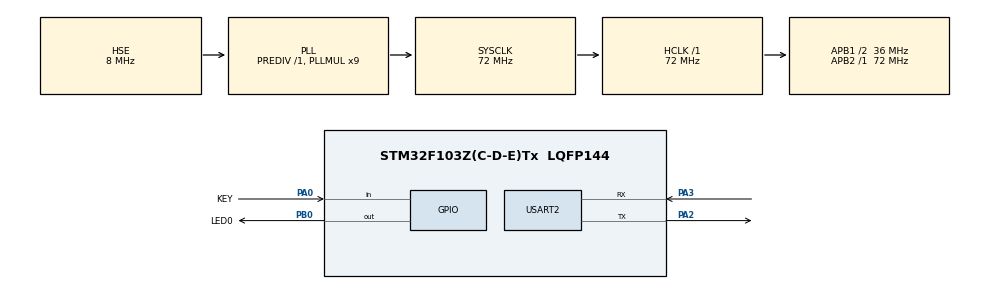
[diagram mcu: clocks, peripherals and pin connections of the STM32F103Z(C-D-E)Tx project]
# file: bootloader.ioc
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Dma.Request0=USART2_RX
Dma.USART2_RX.0.Direction=DMA_PERIPH_TO_MEMORY
Dma.USART2_RX.0.Instance=DMA1_Channel6
Dma.USART2_RX.0.MemDataAlignment=DMA_MDATAALIGN_BYTE
Dma.USART2_RX.0.MemInc=DMA_MINC_ENABLE
Dma.USART2_RX.0.Mode=DMA_CIRCULAR
Dma.USART2_RX.0.PeriphDataAlignment=DMA_PDATAALIGN_BYTE
Dma.USART2_RX.0.PeriphInc=DMA_PINC_DISABLE
Dma.USART2_RX.0.Priority=DMA_PRIORITY_HIGH
Mcu.Family=STM32F1
Mcu.Name=STM32F103Z(C-D-E)Tx
Mcu.Package=LQFP144
NVIC.DMA1_Channel6_IRQn=true\:0\:0\:false\:false\:true\:false\:true\:true
NVIC.PriorityGroup=NVIC_PRIORITYGROUP_4
NVIC.USART2_IRQn=true\:0\:0\:false\:false\:true\:true\:true\:true
OSC_IN.Mode=HSE-External-Oscillator
OSC_IN.Signal=RCC_OSC_IN
OSC_OUT.Mode=HSE-External-Oscillator
OSC_OUT.Signal=RCC_OSC_OUT
PA0-WKUP.GPIO_Label=KEY
PA0-WKUP.Signal=GPIO_Input
PA13.Mode=Serial_Wire
PA13.Signal=SYS_JTMS-SWDIO
PA14.Mode=Serial_Wire
PA14.Signal=SYS_JTCK-SWCLK
PA2.Mode=Asynchronous
PA2.Signal=USART2_TX
PA3.Mode=Asynchronous
PA3.Signal=USART2_RX
PB0.GPIO_Label=LED0
PB0.Signal=GPIO_Output
ProjectManager.HeapSize=0x200
ProjectManager.StackSize=0x400
ProjectManager.TargetToolchain=MDK-ARM V5.32
RCC.AHBFreq_Value=72000000
RCC.APB1CLKDivider=RCC_HCLK_DIV2
RCC.APB1Freq_Value=36000000
RCC.APB1TimFreq_Value=72000000
RCC.APB2Freq_Value=72000000
RCC.APB2TimFreq_Value=72000000
RCC.HCLKFreq_Value=72000000
RCC.PLLMUL=RCC_PLL_MUL9
RCC.PLLSourceVirtual=RCC_PLLSOURCE_HSE
RCC.SYSCLKFreq_VALUE=72000000
RCC.SYSCLKSource=RCC_SYSCLKSOURCE_PLLCLK
RCC.USBFreq_Value=72000000
USART2.VirtualMode=VM_ASYNC
board=custom

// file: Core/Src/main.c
/* USER CODE BEGIN Header */
/**
 * @file    main.c
 * @brief   双 MCU OTA 系统 —— STM32 Bootloader
 *
 * 功能：
 *   1. 上电检查升级条件（按键强制 / App 请求 / 无有效 App）
 *   2. 有有效 App → IAP 跳转运行
 *   3. 无有效 App → USART2 + DMA 接收 ESP32 发来的 OTA 协议帧
 *   4. 固件写入 App B 区 → CRC 校验 → 复制到 App A → 复位
 */
/* USER CODE END Header */
#include "main.h"
#include "dma.h"
#include "usart.h"
#include "gpio.h"

/* USER CODE BEGIN Includes */
#include "ota_config.h"
#include "ota_protocol.h"
#include "flash_if.h"
#include <string.h>
/* USER CODE END Includes */

/* USER CODE BEGIN PTD */

/* OTA 会话状态 */
typedef struct {
    uint32_t fw_total;      /* 固件总字节数        */
    uint16_t total_pkts;    /* 总包数              */
    uint32_t received;      /* 已接收字节数        */
    uint16_t expect_seq;    /* 期望的下一个序号    */
    uint32_t crc;           /* 流式累计 CRC32      */
    uint8_t  active;        /* 会话是否进行中      */
} OtaSession_t;

/* USER CODE END PTD */

/* USER CODE BEGIN PV */
/* 接收缓冲区 —— DMA 直接写入 OtaRxBuf；帧就绪后由主循环快照到 g_frameBuf 再解析，
 *                避免"解析期间 DMA 又覆盖"的竞态。                          */
uint8_t           OtaRxBuf[OTA_RX_BUF_SIZE];    /* DMA 目标缓冲（对外可见） */
volatile uint8_t  OtaRxReady = 0;               /* 1 = 有帧待处理           */
volatile uint16_t OtaRxLen   = 0;               /* 帧长度                   */

static uint8_t  g_frameBuf[OTA_RX_BUF_SIZE];    /* 帧快照（解析用）         */

static OtaSession_t g_ota;

static const char *s_bootVer = "boot v1.0";
/* USER CODE END PV */

void SystemClock_Config(void);
static void OTA_LED_Init(void);   /* 手动初始化 LED 引脚（不依赖 CubeMX） */
/* USER CODE BEGIN PFP */
static void     JumpToApp(uint32_t appAddr);
static uint8_t  AppLooksValid(uint32_t appAddr);
static uint8_t  ShouldEnterDownload(void);
static uint8_t  WaitForKeyInWindow(uint32_t ms);   /* 上电后 N ms 内的"按 KEY0 即进下载模式"窗口 */
static void     OTA_HandleFrame(const OtaFrame_t *f);
static void     OTA_SendAck(uint16_t seq, uint8_t status);
/* USER CODE END PFP */

int main(void)
{

    /* MCU Configuration--------------------------------------------------------*/
    HAL_Init();

    /* Configure the system clock */
    SystemClock_Config();

    /* Initialize all configured peripherals */
    /* 注意：DMA 必须先于 UART 初始化（CubeMX 偶尔生成顺序颠倒会死机） */
    MX_DMA_Init();
    MX_GPIO_Init();
    MX_USART2_UART_Init();

    /* USER CODE BEGIN 2 */

    /* 手动初始化 LED 引脚（覆盖 OTA_LED_PORT/OTA_LED_PIN，不依赖 CubeMX） */
    OTA_LED_Init();

    /* ---- 1. 上电后 3 秒"等待 KEY0"窗口 ----
     * 让你不用"按住+RESET"也能进下载模式：直接按一下 RST → 松手后 3 秒内
     * 按一下 KEY0 就强制进下载模式。错过窗口（App 完整）就跳 App。
     * LED 在等待窗口里用 50ms 超快闪，跟"进下载模式后的 200ms 慢闪"区分开。
     */
    if (WaitForKeyInWindow(3000)) {
        /* 用户按了 KEY0 → 强制进下载模式（绕过 AppLooksValid 判据） */
    } else {
        /* 3 秒没按 → 走原判据 */
        if (!ShouldEnterDownload()) {
            JumpToApp(APP_A_ADDR);          /* 正常启动，不回来 */
        }
    }

    /* ---- 2. 下载模式：LED 慢闪提示 ---- */
    uint32_t lastBlink = 0;
    uint8_t  ledState = 0;

    g_ota.active = 0;
    memset(&g_ota, 0, sizeof(g_ota));

    /* 启动接收：手动 DMA + 空闲中断（不用 HAL_UARTEx_ReceiveToIdle_DMA，
     * 因为它在 F1 HAL 上会同时打开"半传输(HT)中断"，当 DMA 计数过半时
     * 也回调 RxEventCallback，产生"假帧"把真帧冲掉 —— 这正是第 4 包
     * (768B 之后)开始失败的根因）。                                    */
    OTA_RxStart();

    /* USER CODE END 2 */

    /* Infinite loop */
    /* USER CODE BEGIN WHILE */
    while (1)
    {
        /* ---- 3. 处理接收到的协议帧 ---- */
        if (OtaRxReady) {
            OtaFrame_t f;
            uint16_t   len = OtaRxLen;

            /* 先快照帧数据，再立刻重启 DMA 接收，
             * 之后慢慢解析（避免解析期间 DMA 覆盖数据）。 */
            memcpy(g_frameBuf, OtaRxBuf, len);
            memset(OtaRxBuf, 0, OTA_RX_BUF_SIZE);
            OtaRxReady = 0;
            OTA_RxStart();              /* 立即重启，准备收下一帧 */

            int rc = ota_parse_frame(g_frameBuf, len, &f);
            if (rc == 0) {
                OTA_HandleFrame(&f);
            } else {
                /* 帧损坏 → NACK 让 ESP32 重传 */
                ota_send(&huart2, CMD_NACK, 0, NULL, 0);
            }
        }

        /* ---- 4. LED 心跳（非阻塞） ---- */
        if (HAL_GetTick() - lastBlink > (g_ota.active ? 50 : 200)) {
            lastBlink = HAL_GetTick();
            ledState = !ledState;
            HAL_GPIO_WritePin(OTA_LED_PORT, OTA_LED_PIN,
                              ledState ? GPIO_PIN_SET : GPIO_PIN_RESET);
        }
    /* USER CODE END WHILE */
    }
}

/**
 * @brief 启动 USART2 的 DMA 接收 + 打开空闲(IDLE)中断
 *        关键点：只允许 IDLE 事件把数据"交付"给上层，
 *        DMA 的 HT(半传输) / TC(传输完成) 中断一律关闭，
 *        避免半满时就产生"假帧"。
 */
void OTA_RxStart(void)
{
    /* 1) 先停掉可能残留的 DMA 传输，防止上一次的计数干扰 */
    (void)HAL_UART_DMAStop(&huart2);
    OtaRxReady = 0;
    OtaRxLen   = 0;

    /* 2) 清 UART 的 IDLE / ORE 等标志，避免刚开就误触发 */
    __HAL_UART_CLEAR_IDLEFLAG(&huart2);

    /* 3) 启动 DMA 接收。
     *    注意：HAL 内部会默认同时打开 TC / HT / TE 三个中断
     *          （见 stm32f1xx_hal_dma.c 的 DMA_Start_IT），
     *          所以必须先启动、再关闭 HT/TC，顺序不能反。      */
    HAL_UART_Receive_DMA(&huart2, OtaRxBuf, OTA_RX_BUF_SIZE);

    /* 4) 关掉 DMA 的半传输(HT) / 传输完成(TC) 中断 —— 只留 IDLE 作为
     *    "帧结束"信号。否则缓冲区收满一半(1024B)时会误当一帧处理。
     *    USART2_RX 对应 DMA1_Channel6（CubeMX 生成）。             */
    DMA1_Channel6->CCR &= ~(DMA_CCR_HTIE | DMA_CCR_TCIE);
    DMA1->IFCR = DMA_IFCR_CGIF6;        /* 清掉通道 6 的全部标志 */

    /* 5) 打开 UART 空闲中断 —— 这是唯一的"帧结束"信号 */
    __HAL_UART_ENABLE_IT(&huart2, UART_IT_IDLE);
}

/**
 * @brief UART 接收事件回调（保留空实现，防止其它路径误用）
 */
void HAL_UARTEx_RxEventCallback(UART_HandleTypeDef *huart, uint16_t Size)
{
    (void)huart;
    (void)Size;
}

/* ============================ OTA 业务逻辑 ============================ */

/**
 * @brief 上电后 N ms 内的"按 KEY0 即进下载模式"窗口
 *        让用户不用"按住 KEY + RESET"也能进下载模式：
 *          1. 按一下 RST 复位
 *          2. 松手后 N ms 内按一下 KEY0 → 强制进下载模式
 *          3. LED 在等待期间用 50ms 超快闪作提示（区别于下载模式的 200ms 慢闪）
 *        错过窗口（KEY0 没按 / 按了但太短）→ 走原 ShouldEnterDownload 判据
 * @return 1 = 用户在窗口内按下了 KEY0（强制进下载模式）
 *         0 = 超时（让主流程继续按原逻辑走）
 */
static uint8_t WaitForKeyInWindow(uint32_t ms)
{
    uint32_t t0      = HAL_GetTick();
    uint32_t lastLed = 0;
    uint8_t  ledSt   = 0;

    while ((uint32_t)(HAL_GetTick() - t0) < ms) {
        /* KEY0 按下（持续 30ms 消抖）→ 立即返回 1 */
        if (HAL_GPIO_ReadPin(KEY_GPIO_Port, KEY_Pin) == KEY_ACTIVE_LEVEL) {
            HAL_Delay(30);
            if (HAL_GPIO_ReadPin(KEY_GPIO_Port, KEY_Pin) == KEY_ACTIVE_LEVEL) {
                return 1;
            }
        }

        /* 50ms 心跳：与"下载模式 200ms 慢闪"明显不同，告诉用户"窗口还开着" */
        if (HAL_GetTick() - lastLed > 50) {
            lastLed = HAL_GetTick();
            ledSt   = !ledSt;
            HAL_GPIO_WritePin(OTA_LED_PORT, OTA_LED_PIN,
                              ledSt ? GPIO_PIN_SET : GPIO_PIN_RESET);
        }
    }
    return 0;
}

/**
 * @brief 判断是否进入 Bootloader 下载模式
 *        任一条件成立即进入：
 *        ① 按住 KEY 上电（物理强制）
 *        ② Config 区有升级请求标志（App 触发，预留）
 *        ③ App A 区无有效固件（首次烧录/固件损坏）
 */
static uint8_t ShouldEnterDownload(void)
{
    SystemConfig_t *cfg = (SystemConfig_t *)CONFIG_ADDR;

    /* ① 按键：按住 KEY 再复位 → 强制下载模式（延时消抖） */
    if (HAL_GPIO_ReadPin(KEY_GPIO_Port, KEY_Pin) == KEY_ACTIVE_LEVEL) {
        HAL_Delay(30);
        if (HAL_GPIO_ReadPin(KEY_GPIO_Port, KEY_Pin) == KEY_ACTIVE_LEVEL) {
            return 1;
        }
    }

    /* ② App 请求升级（写入 ota_request 后复位） */
    if (cfg->magic == OTA_MAGIC && cfg->ota_request == 1) {
        return 1;
    }

    /* ②b 上次"App B → App A 复制"没走完（中途掉电）
     *     → 此时 App A 可能是"擦了一半"或"拷了一半"的半成品，
     *       AppLooksValid() 只看头 8 字节，完全可能误判为有效。
     *       所以这条判据必须放在 AppLooksValid() 之前。 */
    if (cfg->magic == OTA_MAGIC && cfg->reserved[0] == CONFIG_FLAG_COPYING) {
        return 1;
    }

    /* ③ App A 是否有效 */
    if (!AppLooksValid(APP_A_ADDR)) {
        return 1;
    }

    return 0;
}

/**
 * @brief 粗判 App 有效性：栈顶指针指向 RAM 且复位向量指向 Flash
 */
static uint8_t AppLooksValid(uint32_t appAddr)
{
    uint32_t sp = *(volatile uint32_t *)appAddr;
    uint32_t pc = *(volatile uint32_t *)(appAddr + 4);

    if ((sp & 0x2FFE0000UL) != 0x20000000UL) {   /* 栈顶须在 64KB SRAM 区 */
        return 0;
    }
    if ((pc & 0xFF000000UL) != 0x08000000UL) {   /* 入口须在 Flash 区    */
        return 0;
    }
    return 1;
}

/**
 * @brief 处理一帧合法的 OTA 协议命令
 */
static void OTA_HandleFrame(const OtaFrame_t *f)
{
    switch (f->cmd) {

    /* ---------- 开始升级 ---------- */
    case CMD_START: {
        if (f->payload_len != 6) {
            OTA_SendAck(f->seq, ACK_ERR);
            return;
        }
        uint32_t total = (uint32_t)f->payload[0]
                       | ((uint32_t)f->payload[1] << 8)
                       | ((uint32_t)f->payload[2] << 16)
                       | ((uint32_t)f->payload[3] << 24);
        uint16_t pkts  = (uint16_t)(f->payload[4] | ((uint16_t)f->payload[5] << 8));

        if (total == 0 || total > APP_B_SIZE || pkts == 0) {
            OTA_SendAck(f->seq, ACK_ERR);
            return;
        }

        /* 擦除 App B 暂存区 */
        if (flash_erase_region(APP_B_ADDR, APP_B_SIZE) != 0) {
            OTA_SendAck(f->seq, ACK_ERR);
            return;
        }

        memset(&g_ota, 0, sizeof(g_ota));
        g_ota.fw_total   = total;
        g_ota.total_pkts = pkts;
        g_ota.crc        = 0;
        g_ota.active     = 1;

        OTA_SendAck(f->seq, ACK_OK);
        break;
    }

    /* ---------- 固件数据包 ---------- */
    case CMD_DATA: {
        if (!g_ota.active || f->payload_len == 0) {
            OTA_SendAck(f->seq, ACK_ERR);
            return;
        }

        if (f->seq == g_ota.expect_seq) {
            /* 顺序新包 → 写入 App B */
            uint32_t dst = APP_B_ADDR + g_ota.received;
            if (flash_write_bytes(dst, f->payload, f->payload_len) != 0) {
                OTA_SendAck(f->seq, ACK_ERR);
                return;
            }
            g_ota.received += f->payload_len;
            g_ota.crc = ota_crc32_update(g_ota.crc, f->payload, f->payload_len);
            g_ota.expect_seq++;

        } else if (f->seq == (uint16_t)(g_ota.expect_seq - 1)) {
            /* 重复包（ACK 丢失后 ESP32 重传）→ 不重写，只补 ACK */
        } else {
            /* 乱序 → 拒绝 */
            OTA_SendAck(f->seq, ACK_ERR);
            return;
        }

        OTA_SendAck(f->seq, ACK_OK);
        break;
    }

    /* ---------- 传输结束 ---------- */
    case CMD_END: {
        uint8_t done_status = ACK_ERR;

        if (g_ota.active && f->payload_len == 4) {
            uint32_t crc_sent = (uint32_t)f->payload[0]
                              | ((uint32_t)f->payload[1] << 8)
                              | ((uint32_t)f->payload[2] << 16)
                              | ((uint32_t)f->payload[3] << 24);

            if (g_ota.received == g_ota.fw_total && g_ota.crc == crc_sent) {
                /* ★ 复制前先立"复制中"标志（掉电保护）
                 *   复制的第一步是把 App A 整片擦成 0xFF，中途掉电会留下半个固件，
                 *   而 AppLooksValid() 只看头 8 个字节就判"有效" → 下次上电会跳进残片。
                 *   标志写在 Config 区（0x08006000，与 App A 不同页，擦 A 碰不到它），
                 *   下次上电 ShouldEnterDownload() 见到它就强制重进下载模式重来。 */
                SystemConfig_t busy = {0};
                busy.magic       = OTA_MAGIC;
                busy.ota_request = 1;                    /* 保证任何情况都能重进下载模式 */
                busy.reserved[0] = CONFIG_FLAG_COPYING;
                config_write(&busy);

                /* 复制 App B → App A */
                if (flash_copy_appb_to_appa(g_ota.fw_total) == 0) {
                    /* 回读 App A 做 CRC 终检 */
                    uint32_t verify = ota_crc32_update(0,
                        (const uint8_t *)APP_A_ADDR, g_ota.fw_total);
                    if (verify == crc_sent) {
                        SystemConfig_t cfg = {
                            .magic       = OTA_MAGIC,
                            .ota_request = 0,
                            .appA_valid  = 1,
                            .appA_size   = g_ota.fw_total,
                            .appA_crc    = crc_sent,
                            .appA_version = 0,
                            /* reserved[] 未指定 → C 规则清 0，
                               即 CONFIG_FLAG_COPYING 自动解除 */
                        };
                        config_write(&cfg);
                        done_status = ACK_OK;
                    }
                }
            }
        }

        uint8_t pl = done_status;
        ota_send(&huart2, CMD_DONE, 0, &pl, 1);

        if (done_status == ACK_OK) {
            HAL_Delay(100);          /* 等 ACK 发完 */
            NVIC_SystemReset();       /* 复位 → 启动新固件 */
        }
        g_ota.active = 0;
        break;
    }

    /* ---------- 查询信息 ---------- */
    case CMD_GET_INFO: {
        ota_send(&huart2, CMD_INFO, 0,
                 (const uint8_t *)s_bootVer, (uint16_t)strlen(s_bootVer));
        break;
    }

    default:
        break;
    }
}

/**
 * @brief 发送 ACK（序号 + 状态）
 */
static void OTA_SendAck(uint16_t seq, uint8_t status)
{
    uint8_t pl[3] = { (uint8_t)(seq & 0xFF), (uint8_t)(seq >> 8), status };
    ota_send(&huart2, CMD_ACK, 0, pl, 3);
}

/**
 * @brief IAP 跳转到 App
 * @note  关键顺序：检查栈顶 → 关中断 → 失能外设 → 重映射向量表 → 设 MSP → 跳转
 */
static void JumpToApp(uint32_t appAddr)
{
    uint32_t jumpAddr;
    void (*jumpToApp)(void);

    /* 1. 合法性检查 */
    if (!AppLooksValid(appAddr)) {
        return;
    }

    /* 2. 取出复位向量 */
    jumpAddr   = *(volatile uint32_t *)(appAddr + 4);
    jumpToApp  = (void (*)(void))jumpAddr;

    /* 3. 关闭全局中断 */
    __disable_irq();

    /* 4. 停 SysTick（防止跳过去立刻触发中断） */
    SysTick->CTRL = 0;
    SysTick->LOAD = 0;
    SysTick->VAL  = 0;

    /* 5. 清所有 NVIC 使能/挂起位（防残留中断） */
    for (int i = 0; i < 8; i++) {
        NVIC->ICER[i] = 0xFFFFFFFFUL;
        NVIC->ICPR[i] = 0xFFFFFFFFUL;
    }

    /* 6. 反初始化本工程用过的外设（UART/DMA/GPIO 回到复位态） */
    HAL_DMA_DeInit(huart2.hdmarx);
    HAL_UART_DeInit(&huart2);

    /* 7. 重映射中断向量表到 App 起点 */
    SCB->VTOR = appAddr;

    /* 8. 设置主栈指针为 App 栈顶 */
    __set_MSP(*(volatile uint32_t *)appAddr);

    /* 9. 跳转（开启全局中断由 App 的启动文件完成） */
    jumpToApp();
}

void SystemClock_Config(void)
{
    RCC_OscInitTypeDef RCC_OscInitStruct = {0};
    RCC_ClkInitTypeDef RCC_ClkInitStruct = {0};

    /** Initializes the RCC Oscillators according to the specified parameters
    */
    RCC_OscInitStruct.OscillatorType = RCC_OSCILLATORTYPE_HSE;
    RCC_OscInitStruct.HSEState       = RCC_HSE_ON;
    RCC_OscInitStruct.HSEPredivValue = RCC_HSE_PREDIV_DIV1;
    RCC_OscInitStruct.PLL.PLLState    = RCC_PLL_ON;
    RCC_OscInitStruct.PLL.PLLSource   = RCC_PLLSOURCE_HSE;
    RCC_OscInitStruct.PLL.PLLMUL     = RCC_PLL_MUL9;
    if (HAL_RCC_OscConfig(&RCC_OscInitStruct) != HAL_OK) {
        Error_Handler();
    }

    /** Initializes the CPU, AHB and APB buses clocks
    */
    RCC_ClkInitStruct.ClockType = RCC_CLOCKTYPE_HCLK | RCC_CLOCKTYPE_SYSCLK
                                | RCC_CLOCKTYPE_PCLK1 | RCC_CLOCKTYPE_PCLK2;
    RCC_ClkInitStruct.SYSCLKSource   = RCC_SYSCLKSOURCE_PLLCLK;
    RCC_ClkInitStruct.AHBCLKDivider  = RCC_SYSCLK_DIV1;
    RCC_ClkInitStruct.APB1CLKDivider = RCC_HCLK_DIV2;    /* APB1=36MHz (USART2) */
    RCC_ClkInitStruct.APB2CLKDivider = RCC_HCLK_DIV1;    /* APB2=72MHz (USART1)  */

    if (HAL_RCC_ClockConfig(&RCC_ClkInitStruct, FLASH_LATENCY_2) != HAL_OK) {
        Error_Handler();
    }
}

/* USER CODE BEGIN 4 */

/**
 * @brief 手动初始化 LED 引脚（不依赖 CubeMX 生成的 gpio.c）
 *        这样改 OTA_LED_PORT/OTA_LED_PIN 后不用回 CubeMX 重新生成
 */
static void OTA_LED_Init(void)
{
    /* 开所有常用 GPIO 端口时钟（避免根据 PORT 选时钟的麻烦） */
    __HAL_RCC_GPIOA_CLK_ENABLE();
    __HAL_RCC_GPIOB_CLK_ENABLE();
    __HAL_RCC_GPIOC_CLK_ENABLE();
    __HAL_RCC_GPIOD_CLK_ENABLE();
    __HAL_RCC_GPIOE_CLK_ENABLE();

    GPIO_InitTypeDef gi = {0};
    gi.Pin   = OTA_LED_PIN;
    gi.Mode  = GPIO_MODE_OUTPUT_PP;
    gi.Pull  = GPIO_NOPULL;
    gi.Speed = GPIO_SPEED_FREQ_LOW;
    HAL_GPIO_Init(OTA_LED_PORT, &gi);

    /* 初始熄灭（默认高电平） */
    HAL_GPIO_WritePin(OTA_LED_PORT, OTA_LED_PIN, GPIO_PIN_SET);
}

/* USER CODE END 4 */

void Error_Handler(void)
{
    __disable_irq();
    while (1) {
    }
}
